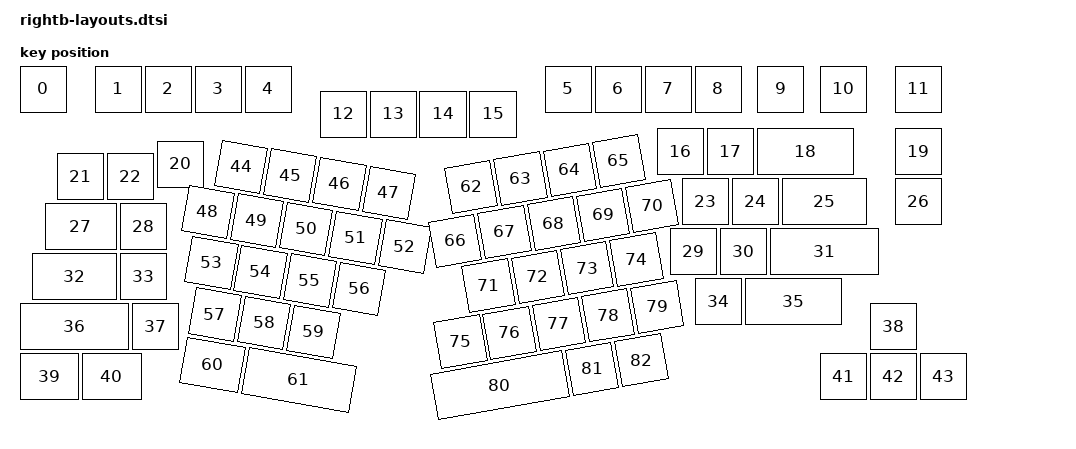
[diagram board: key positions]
// See https://zmk.dev/docs/development/hardware-integration/physical-layouts
// for how to configure this.

#include <physical_layouts.dtsi>

/ {
    physical_layout0: physical_layout_0 {
        compatible = "zmk,physical-layout";
        display-name = "LAYOUT";

        kscan = <&kscan0>;
        transform = <&matrix_transform0>;

        keys  //                     w   h    x    y     rot    rx    ry
            = <&key_physical_attrs 100 100    0    0       0     0     0>
            , <&key_physical_attrs 100 100  150    0       0     0     0>
            , <&key_physical_attrs 100 100  250    0       0     0     0>
            , <&key_physical_attrs 100 100  350    0       0     0     0>
            , <&key_physical_attrs 100 100  450    0       0     0     0>
            , <&key_physical_attrs 100 100 1050    0       0     0     0>
            , <&key_physical_attrs 100 100 1150    0       0     0     0>
            , <&key_physical_attrs 100 100 1250    0       0     0     0>
            , <&key_physical_attrs 100 100 1350    0       0     0     0>
            , <&key_physical_attrs 100 100 1475    0       0     0     0>
            , <&key_physical_attrs 100 100 1600    0       0     0     0>
            , <&key_physical_attrs 100 100 1750    0       0     0     0>
            , <&key_physical_attrs 100 100  600   50       0     0     0>
            , <&key_physical_attrs 100 100  700   50       0     0     0>
            , <&key_physical_attrs 100 100  800   50       0     0     0>
            , <&key_physical_attrs 100 100  900   50       0     0     0>
            , <&key_physical_attrs 100 100 1275  125       0     0     0>
            , <&key_physical_attrs 100 100 1375  125       0     0     0>
            , <&key_physical_attrs 200 100 1475  125       0     0     0>
            , <&key_physical_attrs 100 100 1750  125       0     0     0>
            , <&key_physical_attrs 100 100  275  150       0     0     0>
            , <&key_physical_attrs 100 100   75  175       0     0     0>
            , <&key_physical_attrs 100 100  175  175       0     0     0>
            , <&key_physical_attrs 100 100 1325  225       0     0     0>
            , <&key_physical_attrs 100 100 1425  225       0     0     0>
            , <&key_physical_attrs 175 100 1525  225       0     0     0>
            , <&key_physical_attrs 100 100 1750  225       0     0     0>
            , <&key_physical_attrs 150 100   50  275       0     0     0>
            , <&key_physical_attrs 100 100  200  275       0     0     0>
            , <&key_physical_attrs 100 100 1300  325       0     0     0>
            , <&key_physical_attrs 100 100 1400  325       0     0     0>
            , <&key_physical_attrs 225 100 1500  325       0     0     0>
            , <&key_physical_attrs 175 100   25  375       0     0     0>
            , <&key_physical_attrs 100 100  200  375       0     0     0>
            , <&key_physical_attrs 100 100 1350  425       0     0     0>
            , <&key_physical_attrs 200 100 1450  425       0     0     0>
            , <&key_physical_attrs 225 100    0  475       0     0     0>
            , <&key_physical_attrs 100 100  225  475       0     0     0>
            , <&key_physical_attrs 100 100 1700  475       0     0     0>
            , <&key_physical_attrs 125 100    0  575       0     0     0>
            , <&key_physical_attrs 125 100  125  575       0     0     0>
            , <&key_physical_attrs 100 100 1600  575       0     0     0>
            , <&key_physical_attrs 100 100 1700  575       0     0     0>
            , <&key_physical_attrs 100 100 1800  575       0     0     0>
            , <&key_physical_attrs 100 100  425   75    1000     0     0>
            , <&key_physical_attrs 100 100  525   75    1000     0     0>
            , <&key_physical_attrs 100 100  625   75    1000     0     0>
            , <&key_physical_attrs 100 100  725   75    1000     0     0>
            , <&key_physical_attrs 100 100  375  175    1000     0     0>
            , <&key_physical_attrs 100 100  475  175    1000     0     0>
            , <&key_physical_attrs 100 100  575  175    1000     0     0>
            , <&key_physical_attrs 100 100  675  175    1000     0     0>
            , <&key_physical_attrs 100 100  775  175    1000     0     0>
            , <&key_physical_attrs 100 100  400  275    1000     0     0>
            , <&key_physical_attrs 100 100  500  275    1000     0     0>
            , <&key_physical_attrs 100 100  600  275    1000     0     0>
            , <&key_physical_attrs 100 100  700  275    1000     0     0>
            , <&key_physical_attrs 100 100  425  375    1000     0     0>
            , <&key_physical_attrs 100 100  525  375    1000     0     0>
            , <&key_physical_attrs 100 100  625  375    1000     0     0>
            , <&key_physical_attrs 125 100  425  475    1000     0     0>
            , <&key_physical_attrs 225 100  550  475    1000     0     0>
            , <&key_physical_attrs 100 100  800  350 (-1000)     0     0>
            , <&key_physical_attrs 100 100  900  350 (-1000)     0     0>
            , <&key_physical_attrs 100 100 1000  350 (-1000)     0     0>
            , <&key_physical_attrs 100 100 1100  350 (-1000)     0     0>
            , <&key_physical_attrs 100 100  750  450 (-1000)     0     0>
            , <&key_physical_attrs 100 100  850  450 (-1000)     0     0>
            , <&key_physical_attrs 100 100  950  450 (-1000)     0     0>
            , <&key_physical_attrs 100 100 1050  450 (-1000)     0     0>
            , <&key_physical_attrs 100 100 1150  450 (-1000)     0     0>
            , <&key_physical_attrs 100 100  800  550 (-1000)     0     0>
            , <&key_physical_attrs 100 100  900  550 (-1000)     0     0>
            , <&key_physical_attrs 100 100 1000  550 (-1000)     0     0>
            , <&key_physical_attrs 100 100 1100  550 (-1000)     0     0>
            , <&key_physical_attrs 100 100  725  650 (-1000)     0     0>
            , <&key_physical_attrs 100 100  825  650 (-1000)     0     0>
            , <&key_physical_attrs 100 100  925  650 (-1000)     0     0>
            , <&key_physical_attrs 100 100 1025  650 (-1000)     0     0>
            , <&key_physical_attrs 100 100 1125  650 (-1000)     0     0>
            , <&key_physical_attrs 275 100  700  750 (-1000)     0     0>
            , <&key_physical_attrs 100 100  975  750 (-1000)     0     0>
            , <&key_physical_attrs 100 100 1075  750 (-1000)     0     0>
            ;
    };
};
